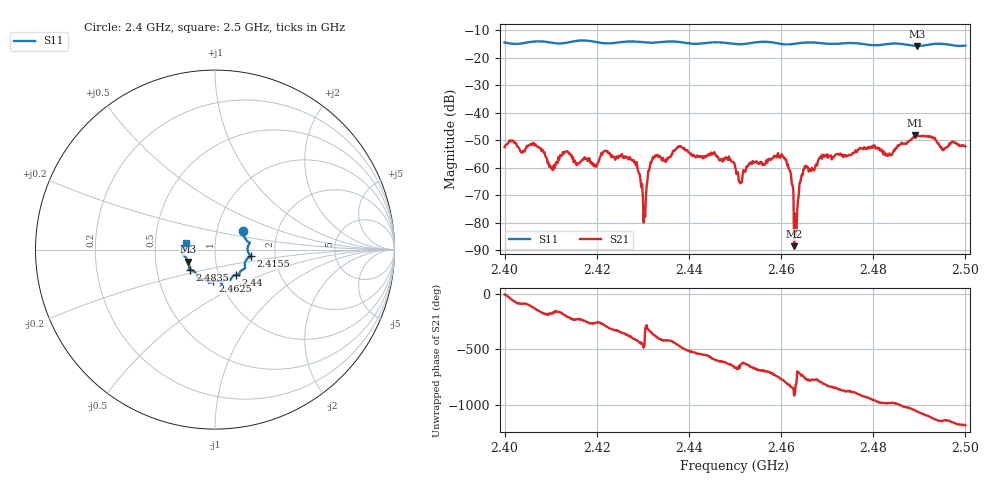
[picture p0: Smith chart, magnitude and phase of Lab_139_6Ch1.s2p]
# Hz S RI R 50
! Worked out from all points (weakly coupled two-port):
!   601 points, 2.4 GHz to 2.5 GHz, reference 50 ohm
!   highest |S21| = -48.21 dB at 2.4892 GHz (marker M1); lowest = -88.5 dB at 2.4628 GHz (marker M2)
!   lowest |S11| = -15.8 dB at 2.4895 GHz (marker M3), VSWR 1.39, Z = 36.8 - j5.12 ohm
!   |S11| at or under -10 dB: start of sweep to end of sweep
!   S12 and S22 are empty: the file has one direction only
!   S11 on the Smith chart (normalised r, x): 2.4 GHz: 1.33, +0.29; 2.4155 GHz: 1.49, -0.11; 2.44 GHz: 1.21, -0.35; 2.4625 GHz: 0.92, -0.34; 2.4835 GHz: 0.74, -0.17; 2.5 GHz: 0.72, +0.05
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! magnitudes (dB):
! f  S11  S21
! 2.4 GHz  -14.5  -52.5
! 2.4155 GHz  -13.9  -58.8
! 2.4167 GHz  -13.7  -57.5
! 2.4277 GHz  -14.1  -57.5
! 2.4302 GHz  -14.4  -80.0
! 2.4317 GHz  -14.6  -58.1
! 2.4333 GHz  -14.4  -56.1
! 2.44 GHz  -14.8  -54.5
! 2.45 GHz  -15.0  -59.4
! 2.4512 GHz  -15.1  -65.7
! 2.4605 GHz  -15.1  -56.2
! 2.4625 GHz  -15.0  -66.4
! 2.4628 GHz  -15.0  -88.5
! 2.4633 GHz  -14.9  -84.2
! 2.465 GHz  -14.5  -60.6
! 2.4667 GHz  -14.4  -60.0
! 2.4775 GHz  -15.0  -53.0
! 2.4833 GHz  -15.0  -55.5
! 2.4835 GHz  -15.0  -54.8
! 2.4892 GHz  -15.7  -48.2
! 2.4895 GHz  -15.8  -48.4
! 2.5 GHz  -15.6  -52.3
